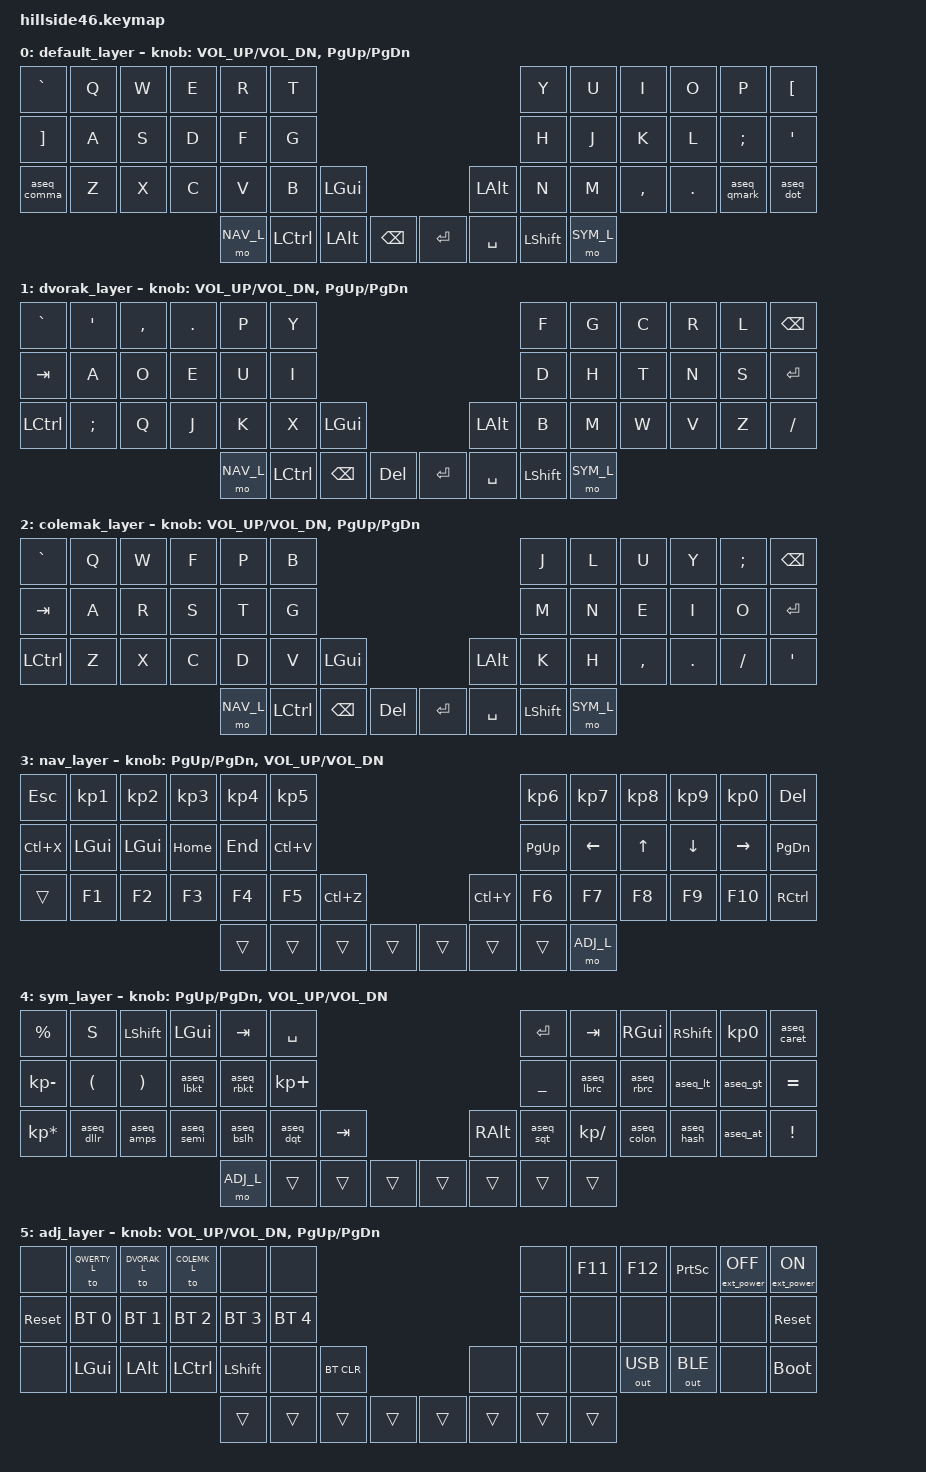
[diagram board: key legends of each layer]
/*
 * Copyright (c) 2021-2022 The ZMK Contributors
 *
 * SPDX-License-Identifier: MIT
 */

#include <behaviors.dtsi>
#include <dt-bindings/zmk/bt.h>
#include <dt-bindings/zmk/ext_power.h>
#include <dt-bindings/zmk/keys.h>
#include <dt-bindings/zmk/outputs.h>

#define QWERTY_L 0
#define DVORAK_L 1
#define COLEMK_L 2
#define NAV_L    3
#define SYM_L    4
#define ADJ_L    5

#define Undo   LC(Z)
#define Cut    LC(X)
#define Copy   LC(C)
#define Paste  LC(V)
#define Redo   LC(Y)

#define AS(_name_,\
           _1_,\
           _2_,\
           _3_)\
aseq_##_name_: aseq_##_name_ {\
    compatible = "zmk,behavior-macro";\
    #binding-cells = <0>;\
    wait-ms = <10>;\
    tap-ms = <10>;\
    bindings\
        = <&macro_press &kp LALT>\
        , <&macro_tap &kp KP_N##_1_ &kp KP_N##_2_ &kp KP_N##_3_>\
        , <&macro_release &kp LALT>;\
};


/ {
    macros {
        AS(qmark, 0,6,3) /* ? */
        AS(dot, 0,4,6) /* . */
        AS(comma, 0,4,4) /* , */
        AS(lbkt, 0,9,1) /* [ */
        AS(rbkt, 0,9,3) /* ] */
        AS(caret, 0,9,4) /* ^ */
        AS(lbrc, 1,2,3) /* { */
        AS(rbrc, 1,2,5) /* } */
        AS(lt, 0,6,0) /* < */
        AS(gt, 0,6,2) /* > */
        AS(dllr, 0,3,6) /* $ */
        AS(amps, 0,3,8) /* & */
        AS(semi, 0,5,9) /* ; */
        AS(bslh, 0,9,2) /* \ */
        AS(dqt, 0,3,4) /* " */
        AS(sqt, 0,3,9) /* ' */
        AS(fslh, 0,4,7) /* / */
        AS(colon, 0,5,8) /* : */
        AS(hash, 0,3,5) /* # */
        AS(at, 0,6,4) /* @ */
        AS(nom, 2,5,2) /* № */
        AS(grave, 0,9,6) /* ` */
        AS(tilde, 1,2,6) /* ~ */
        AS(pipe, 1,2,4) /* | */
    };
        keymap {
                compatible = "zmk,keymap";

                default_layer {

/* MY QWERTY
 * -------------------------------------------------------------------------------------------------------------------------------------
 * | `     |   Q   |   W   |   E   |   R   |   T   |-----------------------------------|   Y   |   U   |   I   |   O   |   P   |   [   |
 * | ]     |   A   |   S   |   D   |   F   |   G   |-----------------------------------|   H   |   J   |   K   |   L   |   ;   |   '   |
 * | ,     |   Z   |   X   |   C   |   V   |   B   |  GUI  |-------------------|  ALT  |   N   |   M   |   ,   |   .   |   ?   |   .   |
 *                                 |  Nav  |  CTRL | BKSPC |  DEL  |---| ENTER | SPACE |SK SHFT|  Sym  |
 */
                        bindings = <
&kp  GRAVE    &kp  Q        &kp  W        &kp  E        &kp  R        &kp  T                                                                         &kp  Y        &kp  U        &kp  I        &kp  O        &kp  P        &kp  LBKT
&kp  RBKT     &kp  A        &kp  S        &kp  D        &kp  F        &kp  G                                                                         &kp  H        &kp  J        &kp  K        &kp  L        &kp  SEMI     &kp  APOS  
&aseq_comma   &kp  Z        &kp  X        &kp  C        &kp  V        &kp  B        &kp  LGUI                                          &kp LALT      &kp  N        &kp  M        &kp  COMMA    &kp  DOT      &aseq_qmark   &aseq_dot
                                                        &mo  NAV_L    &kp  LCTRL    &kp  LALT    &kp BSPC                &kp  ENTER    &kp  SPACE    &kp  LSHIFT   &mo  SYM_L
                        >;
			
                        sensor-bindings = <&inc_dec_kp C_VOL_UP C_VOL_DN &inc_dec_kp PG_UP PG_DN>;
                };
		
                dvorak_layer {
/* DVORAK
 * -------------------------------------------------------------------------------------------------------------------------------------
 * | `     |   '   |   ,   |   .   |   P   |   Y   |-----------------------------------|   F   |   G   |   C   |   R   |   L   | BKSPC |
 * | TAB   |   A   |   O   |   E   |   U   |   I   |-----------------------------------|   D   |   H   |   T   |   N   |   S   | ENTER |
 * | CTRL  |   ;   |   Q   |   J   |   K   |   X   |  ESC  |-------------------| CAPS  |   B   |   M   |   W   |   V   |   Z   |   /   |
 *                                 |  GUI  |  ALT  |SK SHFT|  Nav  |---|  Sym  | SPACE |  ALT  |  GUI  |
 */
                        bindings = <
&kp  GRAVE    &kp  SQT      &kp  COMMA    &kp  DOT      &kp  P        &kp  Y                                                                         &kp  F        &kp  G        &kp  C        &kp  R        &kp  L        &kp  BSPC
&kp  TAB      &kp  A        &kp  O        &kp  E        &kp  U        &kp  I                                                                         &kp  D        &kp  H        &kp  T        &kp  N        &kp  S        &kp  ENTER
&kp  LCTRL    &kp  SEMI     &kp  Q        &kp  J        &kp  K        &kp  X        &kp  LGUI                                          &kp LALT      &kp  B        &kp  M        &kp  W        &kp  V        &kp  Z        &kp  SLASH
                                                        &mo  NAV_L    &kp  LCTRL    &kp  BSPC    &kp  DEL                &kp  ENTER    &kp SPACE     &kp  LSHIFT   &mo  SYM_L
                        >;
			
                        sensor-bindings = <&inc_dec_kp C_VOL_UP C_VOL_DN &inc_dec_kp PG_UP PG_DN>;
                };
		
                colemak_layer {
/* COLEMAK-DH
 * -------------------------------------------------------------------------------------------------------------------------------------
 * | `     |   Q   |   W   |   F   |   P   |   B   |-----------------------------------|   J   |   L   |   U   |   Y   |   ;   | BKSPC |
 * | TAB   |   A   |   R   |   S   |   T   |   G   |-----------------------------------|   M   |   N   |   E   |   I   |   O   | ENTER |
 * | CTRL  |   Z   |   X   |   C   |   D   |   V   |  ESC  |-------------------| CAPS  |   K   |   H   |   ,   |   .   |   /   |   '   |
 *                                 |  GUI  |  ALT  |SK SHFT|  Nav  |---|  Sym  | SPACE |  ALT  |  GUI  |
 */
                        bindings = <
&kp  GRAVE    &kp  Q        &kp  W        &kp  F        &kp  P        &kp  B                                                                         &kp  J        &kp  L        &kp  U        &kp  Y        &kp  SEMI     &kp  BSPC
&kp  TAB      &kp  A        &kp  R        &kp  S        &kp  T        &kp  G                                                                         &kp  M        &kp  N        &kp  E        &kp  I        &kp  O        &kp  ENTER
&kp  LCTRL    &kp  Z        &kp  X        &kp  C        &kp  D        &kp  V        &kp  LGUI                                          &kp LALT      &kp  K        &kp  H        &kp  COMMA    &kp  DOT      &kp  SLASH    &kp  SQT
                                                        &mo  NAV_L    &kp  LCTRL    &kp  BSPC    &kp  DEL                &kp  ENTER    &kp  SPACE    &kp  LSHIFT   &mo  SYM_L
                        >;
			
                        sensor-bindings = <&inc_dec_kp C_VOL_UP C_VOL_DN &inc_dec_kp PG_UP PG_DN>;
                };
		
                nav_layer {
/* NAV   
 * -------------------------------------------------------------------------------------------------------------------------------------
 * | Copy  |   1   |   2   |   3   |   4   |   5   |-----------------------------------|   6   |   7   |   8   |   9   |   0   | BSPC  |
 * | Cut   |  GUI  |  Alt  | Ctrl  | Shift | Paste |-----------------------------------| PG UP |  Left |  Up   |  Down | Right | PG DN |
 * | Ctrl  |  F1   |  F2   |  F3   |  F4   |  F5   |  UnDo |-------------------| ReDo  |  F6   |  F7   |  F8   |  F9   |  F10  | Ctrl  |
 *                                 |       |       |       |       |---| ADJ_L |       |       |       |
 */
                        bindings = <
&kp  ESC      &kp  KP_N1    &kp  KP_N2    &kp  KP_N3    &kp  KP_N4    &kp  KP_N5                                                                     &kp   KP_N6   &kp  KP_N7   &kp   KP_N8   &kp   KP_N9   &kp  KP_N0    &kp DEL
&kp  Cut      &kp  LGUI     &kp  LGUI     &kp  HOME     &kp  END      &kp  Paste                                                                     &kp   PG_UP   &kp  LEFT    &kp   UP      &kp   DOWN    &kp  RIGHT    &kp PG_DN
&trans        &kp  F1       &kp  F2       &kp  F3       &kp  F4       &kp  F5       &kp Undo                                           &kp  Redo     &kp   F6      &kp  F7      &kp   F8      &kp   F9      &kp  F10      &kp RCTRL
                                                        &trans        &trans        &trans        &trans                 &trans        &trans        &trans    &mo ADJ_L
                        >;
			
                        sensor-bindings = <&inc_dec_kp PG_UP PG_DN &inc_dec_kp C_VOL_UP C_VOL_DN>;
                };

                sym_layer {
/* SYM
 * -------------------------------------------------------------------------------------------------------------------------------------
 * | INS   |   !   |   @   |   #   |   $   |   %   |-----------------------------------|   ^   |   &   |   *   |   (   |   )   | BSPC  |
 * |       |   \   |   -   |   =   |   [   |   ]   |-----------------------------------| HOME  | Shift | Ctrl  | Alt   | Gui   | END   |
 * | Ctrl  |   |   |   _   |   +   |   {   |   }   |SkAltGr|-------------------| MENU  | Mute  | Vol-  | Vol+  | Play  |       | Ctrl  |
 *                                 |       |       |       |  ADJ_L |---|      |       |       |       |
 */
                        bindings = <
&kp  PERCENT  &kp  S        &kp  LSHFT    &kp  LGUI     &kp  TAB      &kp  SPACE                                                                     &kp   ENTER   &kp  TAB      &kp  RGUI     &kp  RSHFT    &kp  KP_N0    &aseq_caret
&kp  KP_MINUS &kp  LPAR     &kp  RPAR     &aseq_lbkt    &aseq_rbkt    &kp  KP_PLUS                                                                   &kp  UNDER    &aseq_lbrc    &aseq_rbrc    &aseq_lt      &aseq_gt      &kp EQUAL
&kp KP_ASTERISK &aseq_dllr  &aseq_amps    &aseq_semi    &aseq_bslh     &aseq_dqt     &kp  TAB                                           &kp RALT     &aseq_sqt     &kp  KP_SLASH &aseq_colon   &aseq_hash    &aseq_at      &kp EXCL

/*
 *&kp  INS      &kp  EXCL     &kp  AT       &kp  HASH     &kp  DOLLAR   &kp  PERCENT                                                                   &kp  CARET    &kp  AMPS     &kp  ASTRK    &kp  LPAR     &kp  RPAR     &kp DEL
 *&none         &kp  BSLH     &kp  MINUS    &kp  EQUAL    &kp  LBKT     &kp  RBKT                                                                      &kp  HOME     &kp  RSHFT    &kp  RCTRL    &kp  LALT     &kp  RGUI     &kp END
 *&trans        &kp  PIPE     &kp  UNDER    &kp  PLUS     &kp  LBRC     &kp  RBRC     &trans                                             &kp K_APP     &kp  C_MUTE   &kp  C_VOL_DN &kp  C_VOL_UP &kp  C_PP     &none         &kp RCTRL
 */                                                       &mo  ADJ_L    &trans        &trans        &trans                  &trans       &trans        &trans        &trans
                        >;
			
                        sensor-bindings = <&inc_dec_kp PG_UP PG_DN &inc_dec_kp C_VOL_UP C_VOL_DN>;
                };
		
                adj_layer {
/* ADJUST
 * -------------------------------------------------------------------------------------------------------------------------------------
 * |       | QWERTY| DVORAK| COLEMK|       |       |-----------------------------------|       |  F11  |  F12  |Prt Scr|EP_OFF | EP_ON |
 * | RESET | BT 0  | BT 1  | BT 2  | BT 3  | BT 4  |-----------------------------------|       |       |       |       |       | RESET |
 * |       | LGUI  | LALT  | LCTRL | LSHIFT|       |BT CLR |-------------------|       |       |       |OUT_USB|OUT_BLE|       | BOOTL |
 *                                 |       |       |       |       |---|       |       |       |       |
 */
                        bindings = <
&none         &to  QWERTY_L &to  DVORAK_L &to  COLEMK_L &none         &none                                                                             &none             &kp   F11          &kp   F12  &kp PRINTSCREEN   &ext_power EP_OFF  &ext_power EP_ON
&sys_reset    &bt  BT_SEL 0 &bt  BT_SEL 1 &bt  BT_SEL 2 &bt  BT_SEL 3 &bt  BT_SEL 4                                                                     &none             &none              &none            &none          &none           &sys_reset
&none         &kp  LGUI     &kp  LALT     &kp  LCTRL    &kp LSHIFT    &none         &bt BT_CLR                                         &none            &none             &none              &out  OUT_USB    &out  OUT_BLE  &none           &bootloader
                                                        &trans        &trans        &trans        &trans                 &trans        &trans           &trans            &trans 
                        >;
			
                        sensor-bindings = <&inc_dec_kp C_VOL_UP C_VOL_DN &inc_dec_kp PG_UP PG_DN>;
                };
        };
};
